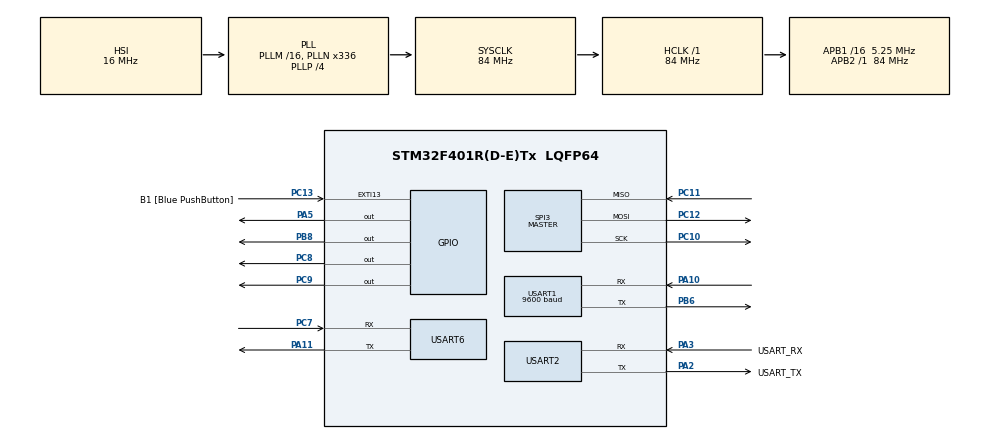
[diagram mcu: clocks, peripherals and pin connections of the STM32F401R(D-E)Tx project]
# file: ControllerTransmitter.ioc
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Mcu.Family=STM32F4
Mcu.Name=STM32F401R(D-E)Tx
Mcu.Package=LQFP64
NVIC.PriorityGroup=NVIC_PRIORITYGROUP_0
NVIC.USART1_IRQn=true\:0\:0\:false\:false\:true\:true\:true\:true
PA10.Mode=Asynchronous
PA10.Signal=USART1_RX
PA11.Mode=Asynchronous
PA11.Signal=USART6_TX
PA13.GPIO_Label=TMS
PA13.Mode=Serial_Wire
PA13.Signal=SYS_JTMS-SWDIO
PA14.GPIO_Label=TCK
PA14.Mode=Serial_Wire
PA14.Signal=SYS_JTCK-SWCLK
PA2.GPIO_Label=USART_TX
PA2.GPIO_Mode=GPIO_MODE_AF_PP
PA2.GPIO_PuPd=GPIO_NOPULL
PA2.GPIO_Speed=GPIO_SPEED_FREQ_LOW
PA2.Mode=Asynchronous
PA2.Signal=USART2_TX
PA3.GPIO_Label=USART_RX
PA3.GPIO_Mode=GPIO_MODE_AF_PP
PA3.GPIO_PuPd=GPIO_NOPULL
PA3.GPIO_Speed=GPIO_SPEED_FREQ_LOW
PA3.Mode=Asynchronous
PA3.Signal=USART2_RX
PA5.Signal=GPIO_Output
PB3.GPIO_Label=SWO
PB3.Signal=SYS_JTDO-SWO
PB6.Mode=Asynchronous
PB6.Signal=USART1_TX
PB8.Signal=GPIO_Output
PC10.Mode=Full_Duplex_Master
PC10.Signal=SPI3_SCK
PC11.Mode=Full_Duplex_Master
PC11.Signal=SPI3_MISO
PC12.Mode=Full_Duplex_Master
PC12.Signal=SPI3_MOSI
PC13-ANTI_TAMP.GPIO_Label=B1 [Blue PushButton]
PC13-ANTI_TAMP.GPIO_ModeDefaultEXTI=GPIO_MODE_IT_FALLING
PC13-ANTI_TAMP.GPIO_PuPd=GPIO_NOPULL
PC13-ANTI_TAMP.Signal=GPXTI13
PC14-OSC32_IN.Mode=LSE-External-Oscillator
PC14-OSC32_IN.Signal=RCC_OSC32_IN
PC15-OSC32_OUT.Mode=LSE-External-Oscillator
PC15-OSC32_OUT.Signal=RCC_OSC32_OUT
PC7.Mode=Asynchronous
PC7.Signal=USART6_RX
PC8.Signal=GPIO_Output
PC9.Signal=GPIO_Output
PH0\ -\ OSC_IN.Mode=HSE-External-Clock-Source
PH0\ -\ OSC_IN.Signal=RCC_OSC_IN
PH1\ -\ OSC_OUT.Mode=HSE-External-Clock-Source
PH1\ -\ OSC_OUT.Signal=RCC_OSC_OUT
ProjectManager.HeapSize=0x200
ProjectManager.StackSize=0x400
ProjectManager.TargetToolchain=STM32CubeIDE
RCC.48MHZClocksFreq_Value=48000000
RCC.AHBFreq_Value=84000000
RCC.APB1CLKDivider=RCC_HCLK_DIV16
RCC.APB1Freq_Value=5250000
RCC.APB1TimFreq_Value=10500000
RCC.APB2Freq_Value=84000000
RCC.APB2TimFreq_Value=84000000
RCC.CortexFreq_Value=84000000
RCC.HCLKFreq_Value=84000000
RCC.HSE_VALUE=8000000
RCC.HSI_VALUE=16000000
RCC.PLLN=336
RCC.PLLP=RCC_PLLP_DIV4
RCC.PLLQ=7
RCC.SYSCLKFreq_VALUE=84000000
RCC.SYSCLKSource=RCC_SYSCLKSOURCE_PLLCLK
RCC.VCOOutputFreq_Value=336000000
SPI3.BaudRatePrescaler=SPI_BAUDRATEPRESCALER_256
SPI3.Direction=SPI_DIRECTION_2LINES
SPI3.FirstBit=SPI_FIRSTBIT_LSB
SPI3.Mode=SPI_MODE_MASTER
SPI3.VirtualType=VM_MASTER
USART1.BaudRate=9600
USART1.VirtualMode=VM_ASYNC
USART2.VirtualMode=VM_ASYNC
USART6.VirtualMode=VM_ASYNC
board=NUCLEO-F401RE

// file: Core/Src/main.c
/* USER CODE BEGIN Header */
/**
  ******************************************************************************
  * @file           : main.c
  * @brief          : Main program body
  ******************************************************************************
  * @attention
  *
  * Copyright (c) 2023 STMicroelectronics.
  * All rights reserved.
  *
  * This software is licensed under terms that can be found in the LICENSE file
  * in the root directory of this software component.
  * If no LICENSE file comes with this software, it is provided AS-IS.
  *
  ******************************************************************************
  */
/* USER CODE END Header */
#include "main.h"

SPI_HandleTypeDef hspi3;

UART_HandleTypeDef huart1;
UART_HandleTypeDef huart2;
UART_HandleTypeDef huart6;

void SystemClock_Config(void);
static void MX_GPIO_Init(void);
static void MX_USART2_UART_Init(void);
static void MX_SPI3_Init(void);
static void MX_USART1_UART_Init(void);
static void MX_USART6_UART_Init(void);

/* USER CODE BEGIN 0 */

static uint8_t uart_rx_buf[1] = {};
int update_score = 0;
int tank_ready[] = {0, 0};

const int NUM_PLAYERS = 2;
int red_score = 0, blue_score = 0;
int display_delay = 50;

GPIO_TypeDef *cs_ports[2] = {GPIOC, GPIOC};
uint16_t cs_pins[2] = {GPIO_PIN_9, GPIO_PIN_8};

void Update_Display() {
	//Clear, set x and y back to 0
	uint8_t tx_buf[10] = {0x7C, 0x00};
	HAL_UART_Transmit(&huart6, tx_buf, 2, 10);
	HAL_Delay(display_delay);
	tx_buf[1] = 0x18;
	tx_buf[2] = 30;
	HAL_UART_Transmit(&huart6, tx_buf, 3, 10);
	HAL_Delay(display_delay);
	tx_buf[1] = 0x19;
	tx_buf[2] = 0x00;
	HAL_UART_Transmit(&huart6, tx_buf, 3, 10);
	HAL_Delay(display_delay);
	tx_buf[1] = 0x02;
	tx_buf[2] = 100;
	HAL_UART_Transmit(&huart6, tx_buf, 3, 10);
	HAL_Delay(display_delay);

	//HAL_UART_Transmit(&huart6, tx_buf, 3, 10);

	//Display Scoreboard on first row

	uint8_t scoreboard_buf[] = {'S', 'c', 'o', 'r', 'e', 'b', 'o', 'a', 'r', 'd'};
	HAL_UART_Transmit(&huart6, scoreboard_buf, sizeof(scoreboard_buf), 10);
	HAL_Delay(display_delay);

	//uint8_t tx_buf[10] = {0x7C, 0x00};
	uint8_t red_buf[] = {'R', 'e', 'd', ':', ' ', red_score + '0'};

	tx_buf[1] = 0x18;
	tx_buf[2] = 0;
	HAL_UART_Transmit(&huart6, tx_buf, 3, 10);
	HAL_Delay(display_delay);
	tx_buf[1] = 0x19;
	tx_buf[2] = 25;
	HAL_UART_Transmit(&huart6, tx_buf, 3, 10);
	HAL_Delay(display_delay);

	HAL_UART_Transmit(&huart6, red_buf, sizeof(red_buf), 10);
	HAL_Delay(display_delay);

	uint8_t blue_buf[] = {'B', 'l', 'u', 'e', ':', ' ', blue_score + '0'};
	tx_buf[1] = 0x18;
	tx_buf[2] = 70;
	HAL_UART_Transmit(&huart6, tx_buf, 3, 10);
	HAL_Delay(display_delay);

	//Set cursor to third row

	HAL_UART_Transmit(&huart6, blue_buf, sizeof(blue_buf), 10);
	HAL_Delay(display_delay);
}

void poll_tank(uint8_t tank_id) {
	//Poll corresponding controller
	uint8_t header_buf[9] = {0x01, 0x42};
	uint8_t rx_buf[9];

	GPIO_TypeDef *GPIOx = cs_ports[tank_id];
	uint16_t GPIO_Pin = cs_pins[tank_id];

	HAL_GPIO_WritePin(GPIOx, GPIO_Pin, 0);
	//HAL_Delay(1);
	HAL_SPI_TransmitReceive(&hspi3, header_buf, rx_buf, 9, 10);
	HAL_GPIO_WritePin(GPIOx, GPIO_Pin, 1);

	//Send back to correct tank
	uint8_t data_packet_buf[4] = {tank_id, rx_buf[4], rx_buf[7], rx_buf[8]};

	//Keep on listening
	//HAL_UART_Receive_IT(&huart1, uart_rx_buf, 1);
	HAL_UART_Transmit(&huart1, data_packet_buf, sizeof(data_packet_buf), 10);
	//tank_ready[tank_id] = 0;
}

void updateScore(uint8_t tank_id) {
	if(tank_id){
		red_score++;
	} else {
		blue_score++;
	}
	update_score = 1;
}

void HAL_UART_RxCpltCallback(UART_HandleTypeDef *huart) {
	//Logic here about detecting which tank is sending to us
	//Most significant 4 bits are command, least significant 4 bits are tank ID
	uint8_t tank_id = uart_rx_buf[0] & 0b1111;
	uint8_t cmd = (uart_rx_buf[0] & ~0b1111) >> 4;
	//tank_ready[tank_id] = 1;
	if (cmd == 0) {
		poll_tank(tank_id);
	} else if(cmd == 1){
		poll_tank(tank_id);
		updateScore(tank_id);
	} else {
		HAL_UART_Receive_IT(&huart1, uart_rx_buf, 1);
	}

	//if (cmd == 1) updateScore(tank_id);
	HAL_UART_Receive_IT(&huart1, uart_rx_buf, 1);
}

void Controller_Init(int controller_id) {
	uint8_t header_buf[9] = {0x01, 0x42};
	uint8_t rx_buf[9];

	GPIO_TypeDef *GPIOx = cs_ports[controller_id];
	uint16_t GPIO_Pin = cs_pins[controller_id];

	//Poll command to flush out any unwanted data

	HAL_GPIO_WritePin(GPIOx, GPIO_Pin, 0);
	//HAL_GPIO_WritePin(GPIOC, GPIO_PIN_9, 0);
	HAL_SPI_TransmitReceive(&hspi3, header_buf, rx_buf, 5, 10);
	HAL_GPIO_WritePin(GPIOx, GPIO_Pin, 1);
	//HAL_GPIO_WritePin(GPIOC, GPIO_PIN_9, 1);

	HAL_Delay(1);

	//Config Mode
	header_buf[1] = 0x43;
	header_buf[3] = 0x01;

	HAL_GPIO_WritePin(GPIOx, GPIO_Pin, 0);
	//HAL_GPIO_WritePin(GPIOC, GPIO_PIN_9, 0);
	HAL_SPI_TransmitReceive(&hspi3, header_buf, rx_buf, 5, 10);
	HAL_GPIO_WritePin(GPIOx, GPIO_Pin, 1);
	//HAL_GPIO_WritePin(GPIOC, GPIO_PIN_9, 1);

	HAL_Delay(1);

	//Turn on Analog Mode
	header_buf[1] = 0x44;
	header_buf[4] = 0x03;

	HAL_GPIO_WritePin(GPIOx, GPIO_Pin, 0);
	//HAL_GPIO_WritePin(GPIOC, GPIO_PIN_9, 0);
	HAL_SPI_TransmitReceive(&hspi3, header_buf, rx_buf, 5, 10);
	HAL_GPIO_WritePin(GPIOx, GPIO_Pin, 1);
	//HAL_GPIO_WritePin(GPIOC, GPIO_PIN_9, 1);

	HAL_Delay(1);

	//Turn off Config Mode
	header_buf[1] = 0x43;
	header_buf[3] = 0x00;
	header_buf[4] = 0x00;

	HAL_GPIO_WritePin(GPIOx, GPIO_Pin, 0);
	//HAL_GPIO_WritePin(GPIOC, GPIO_PIN_9, 0);
	HAL_SPI_TransmitReceive(&hspi3, header_buf, rx_buf, 5, 10);
	HAL_GPIO_WritePin(GPIOx, GPIO_Pin, 1);
	//HAL_GPIO_WritePin(GPIOC, GPIO_PIN_9, 1);
}

/* USER CODE END 0 */

int main(void)
{

  /* MCU Configuration--------------------------------------------------------*/

  /* Reset of all peripherals, Initializes the Flash interface and the Systick. */
  HAL_Init();

  /* Configure the system clock */
  SystemClock_Config();

  /* Initialize all configured peripherals */
  MX_GPIO_Init();
  MX_USART2_UART_Init();
  MX_SPI3_Init();
  MX_USART1_UART_Init();
  MX_USART6_UART_Init();
  /* USER CODE BEGIN 2 */
  HAL_GPIO_WritePin(GPIOC, GPIO_PIN_9, 0);
  Controller_Init(0);
  HAL_Delay(1);
  Controller_Init(1);
  HAL_Delay(1);
  Update_Display();
  /* USER CODE END 2 */

  /* Infinite loop */
  /* USER CODE BEGIN WHILE */

  //uint8_t header_buf[9] = {0x01, 0x42};
  //uint8_t rx_buf[9];

  //HAL_Delay(1);
  //HAL_UART_Transmit(&huart1, handshake_buf, 1, 10);
  HAL_UART_Receive_IT(&huart1, uart_rx_buf, 1);
  while (1)
  {
	  if (update_score) {
		  Update_Display();
		  update_score = 0;
	  }

	  /*for (int i = 0; i < NUM_PLAYERS; i++) {
		  if (tank_ready[i]) {
			  poll_tank(i);
		  }
	  }*/
	/*uint8_t header_buf[9] = {0x01, 0x42};
	uint8_t rx_buf[9];

    //Poll the tank
	HAL_GPIO_WritePin(GPIOC, GPIO_PIN_9, 0);
	HAL_SPI_TransmitReceive(&hspi3, header_buf, rx_buf, 9, 10);
	HAL_GPIO_WritePin(GPIOC, GPIO_PIN_9, 1);

	uint8_t data_packet_buf[4] = {0, rx_buf[4], rx_buf[7], rx_buf[8]}; */

	//HAL_UART_Transmit(&huart1, data_packet_buf, sizeof(data_packet_buf), 10);

	//Send data over

    /* USER CODE END WHILE */

  }
}

void SystemClock_Config(void)
{
  RCC_OscInitTypeDef RCC_OscInitStruct = {0};
  RCC_ClkInitTypeDef RCC_ClkInitStruct = {0};

  /** Configure the main internal regulator output voltage
  */
  __HAL_RCC_PWR_CLK_ENABLE();
  __HAL_PWR_VOLTAGESCALING_CONFIG(PWR_REGULATOR_VOLTAGE_SCALE2);

  /** Initializes the RCC Oscillators according to the specified parameters
  * in the RCC_OscInitTypeDef structure.
  */
  RCC_OscInitStruct.OscillatorType = RCC_OSCILLATORTYPE_HSI;
  RCC_OscInitStruct.HSIState = RCC_HSI_ON;
  RCC_OscInitStruct.HSICalibrationValue = RCC_HSICALIBRATION_DEFAULT;
  RCC_OscInitStruct.PLL.PLLState = RCC_PLL_ON;
  RCC_OscInitStruct.PLL.PLLSource = RCC_PLLSOURCE_HSI;
  RCC_OscInitStruct.PLL.PLLM = 16;
  RCC_OscInitStruct.PLL.PLLN = 336;
  RCC_OscInitStruct.PLL.PLLP = RCC_PLLP_DIV4;
  RCC_OscInitStruct.PLL.PLLQ = 7;
  if (HAL_RCC_OscConfig(&RCC_OscInitStruct) != HAL_OK)
  {
    Error_Handler();
  }

  /** Initializes the CPU, AHB and APB buses clocks
  */
  RCC_ClkInitStruct.ClockType = RCC_CLOCKTYPE_HCLK|RCC_CLOCKTYPE_SYSCLK
                              |RCC_CLOCKTYPE_PCLK1|RCC_CLOCKTYPE_PCLK2;
  RCC_ClkInitStruct.SYSCLKSource = RCC_SYSCLKSOURCE_PLLCLK;
  RCC_ClkInitStruct.AHBCLKDivider = RCC_SYSCLK_DIV1;
  RCC_ClkInitStruct.APB1CLKDivider = RCC_HCLK_DIV16;
  RCC_ClkInitStruct.APB2CLKDivider = RCC_HCLK_DIV1;

  if (HAL_RCC_ClockConfig(&RCC_ClkInitStruct, FLASH_LATENCY_2) != HAL_OK)
  {
    Error_Handler();
  }
}

static void MX_SPI3_Init(void)
{

  /* SPI3 parameter configuration*/
  hspi3.Instance = SPI3;
  hspi3.Init.Mode = SPI_MODE_MASTER;
  hspi3.Init.Direction = SPI_DIRECTION_2LINES;
  hspi3.Init.DataSize = SPI_DATASIZE_8BIT;
  hspi3.Init.CLKPolarity = SPI_POLARITY_LOW;
  hspi3.Init.CLKPhase = SPI_PHASE_1EDGE;
  hspi3.Init.NSS = SPI_NSS_SOFT;
  hspi3.Init.BaudRatePrescaler = SPI_BAUDRATEPRESCALER_256;
  hspi3.Init.FirstBit = SPI_FIRSTBIT_LSB;
  hspi3.Init.TIMode = SPI_TIMODE_DISABLE;
  hspi3.Init.CRCCalculation = SPI_CRCCALCULATION_DISABLE;
  hspi3.Init.CRCPolynomial = 10;
  if (HAL_SPI_Init(&hspi3) != HAL_OK)
  {
    Error_Handler();
  }

}

static void MX_USART1_UART_Init(void)
{

  huart1.Instance = USART1;
  huart1.Init.BaudRate = 9600;
  huart1.Init.WordLength = UART_WORDLENGTH_8B;
  huart1.Init.StopBits = UART_STOPBITS_1;
  huart1.Init.Parity = UART_PARITY_NONE;
  huart1.Init.Mode = UART_MODE_TX_RX;
  huart1.Init.HwFlowCtl = UART_HWCONTROL_NONE;
  huart1.Init.OverSampling = UART_OVERSAMPLING_16;
  if (HAL_UART_Init(&huart1) != HAL_OK)
  {
    Error_Handler();
  }

}

static void MX_USART2_UART_Init(void)
{

  huart2.Instance = USART2;
  huart2.Init.BaudRate = 115200;
  huart2.Init.WordLength = UART_WORDLENGTH_8B;
  huart2.Init.StopBits = UART_STOPBITS_1;
  huart2.Init.Parity = UART_PARITY_NONE;
  huart2.Init.Mode = UART_MODE_TX_RX;
  huart2.Init.HwFlowCtl = UART_HWCONTROL_NONE;
  huart2.Init.OverSampling = UART_OVERSAMPLING_16;
  if (HAL_UART_Init(&huart2) != HAL_OK)
  {
    Error_Handler();
  }

}

static void MX_USART6_UART_Init(void)
{

  huart6.Instance = USART6;
  huart6.Init.BaudRate = 115200;
  huart6.Init.WordLength = UART_WORDLENGTH_8B;
  huart6.Init.StopBits = UART_STOPBITS_1;
  huart6.Init.Parity = UART_PARITY_NONE;
  huart6.Init.Mode = UART_MODE_TX_RX;
  huart6.Init.HwFlowCtl = UART_HWCONTROL_NONE;
  huart6.Init.OverSampling = UART_OVERSAMPLING_16;
  if (HAL_UART_Init(&huart6) != HAL_OK)
  {
    Error_Handler();
  }

}

static void MX_GPIO_Init(void)
{
  GPIO_InitTypeDef GPIO_InitStruct = {0};

  /* GPIO Ports Clock Enable */
  __HAL_RCC_GPIOC_CLK_ENABLE();
  __HAL_RCC_GPIOH_CLK_ENABLE();
  __HAL_RCC_GPIOA_CLK_ENABLE();
  __HAL_RCC_GPIOB_CLK_ENABLE();

  /*Configure GPIO pin Output Level */
  HAL_GPIO_WritePin(GPIOA, GPIO_PIN_5, GPIO_PIN_RESET);

  /*Configure GPIO pin Output Level */
  HAL_GPIO_WritePin(GPIOC, GPIO_PIN_8|GPIO_PIN_9, GPIO_PIN_RESET);

  /*Configure GPIO pin Output Level */
  HAL_GPIO_WritePin(GPIOB, GPIO_PIN_8, GPIO_PIN_RESET);

  /*Configure GPIO pin : B1_Pin */
  GPIO_InitStruct.Pin = B1_Pin;
  GPIO_InitStruct.Mode = GPIO_MODE_IT_FALLING;
  GPIO_InitStruct.Pull = GPIO_NOPULL;
  HAL_GPIO_Init(B1_GPIO_Port, &GPIO_InitStruct);

  /*Configure GPIO pin : PA5 */
  GPIO_InitStruct.Pin = GPIO_PIN_5;
  GPIO_InitStruct.Mode = GPIO_MODE_OUTPUT_PP;
  GPIO_InitStruct.Pull = GPIO_NOPULL;
  GPIO_InitStruct.Speed = GPIO_SPEED_FREQ_LOW;
  HAL_GPIO_Init(GPIOA, &GPIO_InitStruct);

  /*Configure GPIO pins : PC8 PC9 */
  GPIO_InitStruct.Pin = GPIO_PIN_8|GPIO_PIN_9;
  GPIO_InitStruct.Mode = GPIO_MODE_OUTPUT_PP;
  GPIO_InitStruct.Pull = GPIO_NOPULL;
  GPIO_InitStruct.Speed = GPIO_SPEED_FREQ_LOW;
  HAL_GPIO_Init(GPIOC, &GPIO_InitStruct);

  /*Configure GPIO pin : PB8 */
  GPIO_InitStruct.Pin = GPIO_PIN_8;
  GPIO_InitStruct.Mode = GPIO_MODE_OUTPUT_PP;
  GPIO_InitStruct.Pull = GPIO_NOPULL;
  GPIO_InitStruct.Speed = GPIO_SPEED_FREQ_LOW;
  HAL_GPIO_Init(GPIOB, &GPIO_InitStruct);

}

void Error_Handler(void)
{
  __disable_irq();
  while (1)
  {
  }
}
